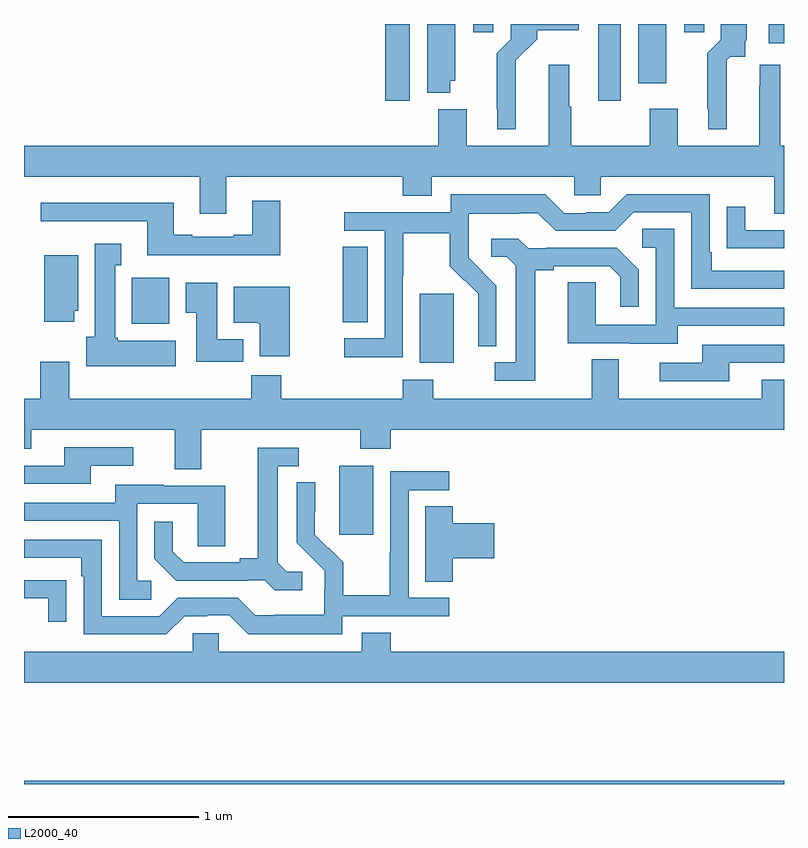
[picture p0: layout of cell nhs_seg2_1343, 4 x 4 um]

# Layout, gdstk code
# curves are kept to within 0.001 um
import gdstk
lib = gdstk.Library(unit=1e-6, precision=1e-09)
def R(c, l, rs):  # rectangles x0, y0, x1, y1
    for r in rs: c.add(gdstk.rectangle(r[:2], r[2:], *l))
def P(c, l, *ps):  # polygons
    for p in ps: c.add(gdstk.Polygon(p, *l))
L2000_40 = (2000, 40)

nhs_seg2_1343 = lib.new_cell('nhs_seg2_1343')
R(nhs_seg2_1343, L2000_40, [(181,617.8,185,617.816), (182.66,619.113,182.839,619.474), (183.083,620.018,183.262,620.379), (181.568,620.222,181.765,620.464), (182.678,620.23,182.809,620.627), (182.9,621.396,183.031,621.8), (184.022,621.396,184.141,621.8), (184.232,621.489,184.381,621.8), (184.92,621.698,185,621.8), (183.365,621.756,183.469,621.8), (184.475,621.756,184.579,621.8)])
P(nhs_seg2_1343, L2000_40, [(184.699,621.61),(184.716,621.627),(184.797,621.627),(184.797,621.708),(184.804,621.715),(184.804,621.8),(184.667,621.8),(184.667,621.716),(184.597,621.646),(184.597,621.355),(184.601,621.355),(184.601,621.245),(184.699,621.245)],
  [(183.589,621.608),(183.702,621.721),(183.702,621.767),(183.919,621.767),(183.919,621.8),(183.561,621.8),(183.561,621.72),(183.487,621.646),(183.487,621.355),(183.491,621.355),(183.491,621.245),(183.589,621.245)],
  [(183.244,621.501),(183.271,621.501),(183.271,621.8),(183.122,621.8),(183.122,621.437),(183.244,621.437)],
  [(184.949,620.802),(185,620.802),(185,621.16),(184.981,621.16),(184.981,621.586),(184.872,621.586),(184.872,621.473),(184.871,621.473),(184.871,621.16),(184.441,621.16),(184.441,621.355),(184.294,621.355),(184.294,621.16),(183.879,621.16),(183.879,621.365),(183.871,621.365),(183.871,621.586),(183.761,621.586),(183.761,621.16),(183.331,621.16),(183.331,621.352),(183.179,621.352),(183.179,621.16),(181,621.16),(181,620.996),(181.925,620.996),(181.925,620.802),(182.065,620.802),(182.065,620.996),(182.993,620.996),(182.993,620.897),(183.145,620.897),(183.145,620.996),(183.897,620.996),(183.897,620.898),(184.035,620.898),(184.035,620.996),(184.949,620.996)],
  [(182.994,620.476),(182.997,620.476),(182.997,620.7),(183.241,620.7),(183.241,620.525),(183.318,620.448),(183.321,620.451),(183.392,620.381),(183.392,620.258),(183.39,620.258),(183.39,620.104),(183.486,620.104),(183.486,620.422),(183.34,620.57),(183.34,620.667),(183.342,620.667),(183.342,620.801),(183.605,620.801),(183.605,620.805),(183.705,620.805),(183.798,620.712),(184.113,620.712),(184.209,620.808),(184.512,620.808),(184.512,620.406),(185,620.406),(185,620.502),(184.621,620.502),(184.621,620.599),(184.608,620.599),(184.608,620.904),(184.173,620.904),(184.077,620.808),(183.959,620.808),(183.959,620.805),(183.843,620.805),(183.743,620.905),(183.246,620.905),(183.246,620.808),(182.685,620.808),(182.685,620.712),(182.898,620.712),(182.898,620.145),(182.685,620.145),(182.685,620.047),(182.994,620.047)],
  [(182.349,620.869),(182.201,620.869),(182.201,620.692),(182.105,620.692),(182.105,620.679),(181.885,620.679),(181.885,620.692),(181.789,620.692),(181.789,620.86),(181.089,620.86),(181.089,620.763),(181.649,620.763),(181.649,620.582),(182.349,620.582)],
  [(185,620.715),(184.795,620.715),(184.795,620.839),(184.699,620.839),(184.699,620.62),(184.801,620.62),(184.801,620.619),(185,620.619)],
  [(184.441,620.211),(185,620.211),(185,620.307),(184.422,620.307),(184.422,620.723),(184.254,620.723),(184.254,620.622),(184.326,620.622),(184.326,620.217),(184.008,620.217),(184.008,620.441),(183.863,620.441),(183.863,620.121),(184.187,620.121),(184.187,620.117),(184.441,620.117)],
  [(183.691,620.504),(183.787,620.504),(183.787,620.526),(184.082,620.526),(184.139,620.469),(184.139,620.313),(184.236,620.313),(184.236,620.506),(184.12,620.622),(183.748,620.622),(183.748,620.619),(183.654,620.619),(183.602,620.671),(183.459,620.671),(183.459,620.574),(183.54,620.574),(183.587,620.527),(183.587,620.019),(183.477,620.019),(183.477,619.923),(183.691,619.923)],
  [(181.798,620.134),(181.494,620.134),(181.494,620.148),(181.48,620.148),(181.48,620.531),(181.513,620.531),(181.513,620.644),(181.373,620.644),(181.373,620.154),(181.328,620.154),(181.328,620),(181.798,620)],
  [(181.264,620.292),(181.285,620.292),(181.285,620.584),(181.106,620.584),(181.106,620.232),(181.264,620.232)],
  [(182.155,620.14),(182.017,620.14),(182.017,620.437),(181.85,620.437),(181.85,620.281),(181.907,620.281),(181.907,620.022),(182.155,620.022)],
  [(182.398,620.416),(182.105,620.416),(182.105,620.228),(182.234,620.228),(182.234,620.222),(182.24,620.222),(182.24,620.052),(182.398,620.052)],
  [(184.711,620.016),(185,620.016),(185,620.112),(184.571,620.112),(184.571,620.016),(184.347,620.016),(184.347,619.92),(184.711,619.92)],
  [(185,619.927),(184.883,619.927),(184.883,619.828),(184.129,619.828),(184.129,620.036),(183.989,620.036),(183.989,619.828),(183.153,619.828),(183.153,619.927),(182.993,619.927),(182.993,619.828),(182.354,619.828),(182.354,619.952),(182.197,619.952),(182.197,619.828),(181.237,619.828),(181.237,620.023),(181.085,620.023),(181.085,619.828),(181,619.828),(181,619.565),(181.039,619.565),(181.039,619.664),(181.793,619.664),(181.793,619.456),(181.933,619.456),(181.933,619.664),(182.77,619.664),(182.77,619.565),(182.93,619.565),(182.93,619.664),(185,619.664)],
  [(181.351,619.476),(181.576,619.476),(181.576,619.572),(181.211,619.572),(181.211,619.476),(181,619.476),(181,619.38),(181.351,619.38)],
  [(182.464,618.918),(182.382,618.918),(182.335,618.965),(182.335,619.473),(182.446,619.473),(182.446,619.569),(182.231,619.569),(182.231,618.989),(182.135,618.989),(182.135,618.966),(181.84,618.966),(181.783,619.023),(181.783,619.18),(181.686,619.18),(181.686,618.986),(181.802,618.87),(182.174,618.87),(182.174,618.873),(182.268,618.873),(182.32,618.821),(182.464,618.821)],
  [(182.676,618.684),(183.238,618.684),(183.238,618.78),(183.024,618.78),(183.024,619.347),(183.238,619.347),(183.238,619.446),(182.928,619.446),(182.928,619.016),(182.926,619.016),(182.926,618.793),(182.681,618.793),(182.681,618.967),(182.604,619.044),(182.601,619.041),(182.531,619.112),(182.532,619.388),(182.436,619.388),(182.436,619.07),(182.582,618.922),(182.582,618.825),(182.58,618.825),(182.58,618.691),(182.317,618.691),(182.317,618.687),(182.217,618.687),(182.124,618.78),(181.809,618.78),(181.713,618.684),(181.41,618.684),(181.41,619.086),(181,619.086),(181,618.99),(181.301,618.99),(181.301,618.893),(181.314,618.893),(181.314,618.588),(181.749,618.588),(181.845,618.684),(181.964,618.684),(181.964,618.687),(182.079,618.687),(182.179,618.587),(182.676,618.587)],
  [(181.669,618.87),(181.596,618.87),(181.596,619.275),(181.914,619.275),(181.914,619.051),(182.059,619.051),(182.059,619.371),(181.735,619.371),(181.735,619.375),(181.481,619.375),(181.481,619.281),(181,619.281),(181,619.185),(181.5,619.185),(181.5,618.769),(181.669,618.769)],
  [(183.257,618.989),(183.475,618.989),(183.475,619.172),(183.257,619.172),(183.257,619.262),(183.113,619.262),(183.113,618.865),(183.257,618.865)],
  [(181.223,618.872),(181.121,618.872),(181.121,618.873),(181,618.873),(181,618.777),(181.127,618.777),(181.127,618.654),(181.223,618.654)],
  [(185,618.496),(182.93,618.496),(182.93,618.595),(182.777,618.595),(182.777,618.496),(182.025,618.496),(182.025,618.594),(181.887,618.594),(181.887,618.496),(181,618.496),(181,618.332),(185,618.332)])

lib.write_gds('nhs_seg2_1343.gds')
